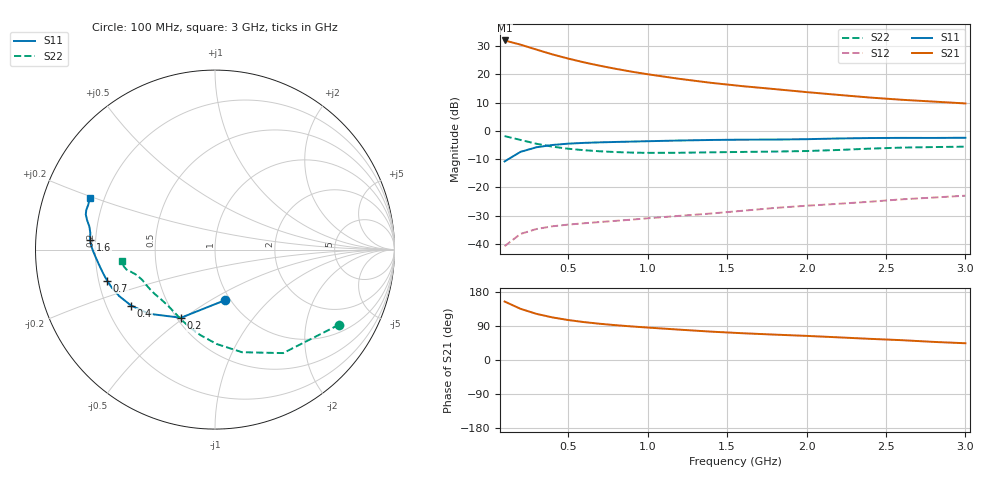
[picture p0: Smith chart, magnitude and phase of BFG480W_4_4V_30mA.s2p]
! Filename: 4_430BFG480.001
! Title: BFG480W
! Bias: Vce=4.4V; Ic=30mA
! Company: Philips Semiconductors NL
! User: Quality&Reliability T&D
! Measure time: 10 Nov 1999 / 12:05:38
#  MHz  S  MA  R 50
! Freq  S11  S21  S12  S22  :
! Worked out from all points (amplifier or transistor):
!   20 points, 100 MHz to 3 GHz, reference 50 ohm
!   highest |S21| = 32.0 dB at 100 MHz (marker M1)
!   |S21| within 3 dB of that: start of sweep to 287.2 MHz
!   unconditionally stable (mu >= 1): 1.156 GHz to end of sweep
!   at 400 MHz: K = 0.52, MSG = 30.4 dB, |S12| = -33.8 dB
!   at 1.2 GHz: K = 1.02, MAG = 23.5 dB, |S12| = -30.1 dB
!   at 3 GHz: K = 1.07, MAG = 14.7 dB, |S12| = -23.0 dB
!   S11 on the Smith chart (normalised r, x): 100 MHz: 0.94, -0.58; 200 MHz: 0.53, -0.49; 400 MHz: 0.30, -0.28; 700 MHz: 0.23, -0.13; 1.6 GHz: 0.18, +0.04; 3 GHz: 0.15, +0.19
100  0.2878 -79.2  39.82 154.3  0.009089 60.7  0.8079 -31.2
200  0.4247 -116.6  33.56 135.1  0.01498 52.9  0.6904 -56.6
300  0.5115 -135.6  27.48 121.8  0.01827 47.6  0.5912 -75.2
400  0.5619 -146.3  22.59 112.5  0.02042 45.5  0.5254 -89.2
500  0.5933 -154.1  19.04 105.5  0.02189 45.1  0.4826 -99.9
600  0.6125 -159.7  16.3 100.0  0.02312 45.7  0.4543 -108.3
700  0.6256 -164.0  14.2 95.6  0.02434 47.2  0.4347 -115.0
800  0.6358 -167.6  12.52 91.8  0.02552 49.0  0.4209 -120.6
900  0.6455 -170.8  11.15 88.6  0.0268 51.3  0.4123 -125.6
1000  0.6554 -173.6  10.05 85.6  0.02832 53.3  0.4077 -130.1
1200  0.6744 -178.2  8.331 80.1  0.03127 56.9  0.4091 -137.7
1400  0.6896 178.4  7.076 74.8  0.03441 60.1  0.4168 -143.6
1600  0.6982 175.4  6.171 70.6  0.03854 63.1  0.4234 -148.0
1800  0.7008 172.3  5.481 67.0  0.04318 65.6  0.43 -152.4
2000  0.7118 169.6  4.851 63.6  0.04724 68.0  0.4392 -157.4
2200  0.7325 166.9  4.332 59.8  0.05109 69.1  0.4584 -162.0
2400  0.7463 164.7  3.884 55.8  0.05564 69.8  0.4842 -165.2
2600  0.7505 162.9  3.549 52.3  0.06132 70.2  0.5054 -167.3
2800  0.749 160.5  3.294 47.8  0.06596 69.6  0.5164 -169.5
3000  0.7546 157.6  3.057 44.2  0.07116 69.6  0.5248 -172.8
